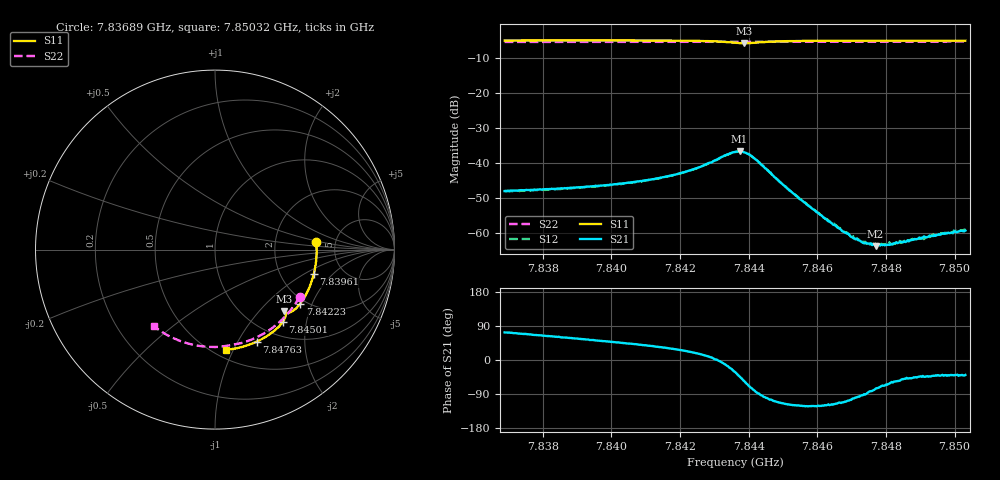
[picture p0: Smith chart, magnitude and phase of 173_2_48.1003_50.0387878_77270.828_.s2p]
#  HZ  S  RI  R  50.00
! Rohde & Schwarz Vector Network Analyzer
! Rohde-Schwarz,ZNB20-2Port,1311601062101988,3.16
! Created: UTC 12/23/2023, 3:52:00 AM
! freq[Hz]  re:S11  im:S11  re:S21  im:S21  re:S12  im:S12  re:S22  im:S22
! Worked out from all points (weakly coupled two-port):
!   401 points, 7.83689 GHz to 7.85032 GHz, reference 50 ohm
!   highest |S21| = -36.70 dB at 7.84374 GHz (marker M1); lowest = -63.9 dB at 7.8477 GHz (marker M2)
!   lowest |S11| = -5.7 dB at 7.84387 GHz (marker M3), VSWR 3.14, Z = 74 - j69.4 ohm
!   |S11| at or under -10 dB: nowhere
!   |S22| runs from -5.4 to -5.3 dB; largest |S21 - S12| = 0.00028
!   S11 on the Smith chart (normalised r, x): 7.83689 GHz: 3.55, +0.45; 7.83961 GHz: 3.07, -1.24; 7.84223 GHz: 1.87, -1.65; 7.84501 GHz: 1.26, -1.47; 7.84763 GHz: 0.80, -1.20; 7.85032 GHz: 0.57, -0.94
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7.836889e9  0.5645 0.0431  0.00116 0.00376  0.00121 0.0037  0.4709 -0.2632
7.839138e9  0.5568 -0.106  0.00256 0.00367  0.00255 0.00363  0.3757 -0.3883
7.839607e9  0.5501 -0.137  0.00292 0.00363  0.00289 0.00359  0.3515 -0.4106
7.841387e9  0.5071 -0.2502  0.00496 0.0034  0.00491 0.00341  0.2484 -0.4807
7.842226e9  0.4753 -0.3012  0.00702 0.00294  0.00697 0.00298  0.1947 -0.505
7.843098e9  0.4256 -0.3467  0.0112 -0.000129  0.0113 -0.000146  0.136 -0.523
7.843602e9  0.3905 -0.3507  0.0122 -0.00745  0.0121 -0.00753  0.1023 -0.5294
7.843736e9  0.386 -0.3472  0.0106 -0.01  0.0106 -0.00985  0.0938 -0.5307
7.84387e9  0.3859 -0.344  0.00792 -0.0117  0.00786 -0.0117  0.0854 -0.5322
7.844005e9  0.3884 -0.3443  0.00489 -0.0123  0.00502 -0.0123  0.0766 -0.5339
7.84424e9  0.3938 -0.3534  0.000726 -0.0109  0.000936 -0.0109  0.0613 -0.5368
7.845012e9  0.3772 -0.4042  -0.00199 -0.00438  -0.00197 -0.00443  0.00746 -0.5425
7.845851e9  0.3359 -0.4479  -0.00115 -0.00188  -0.00117 -0.00189  -0.0517 -0.5411
7.84622e9  0.3157 -0.4639  -0.000775 -0.0014  -0.000795 -0.00137  -0.0777 -0.5382
7.847026e9  0.2693 -0.4939  -0.000172 -0.000834  -0.000219 -0.000895  -0.1333 -0.5278
7.847361e9  0.2492 -0.5045  -5.59e-07 -0.000709  -2.95e-05 -0.000697  -0.1561 -0.5216
7.84763e9  0.2329 -0.5123  0.000118 -0.000669  0.000131 -0.00068  -0.174 -0.516
7.847697e9  0.2287 -0.5142  0.000156 -0.000617  0.000159 -0.000676  -0.1784 -0.5146
7.8481e9  0.204 -0.5247  0.000307 -0.000588  0.00038 -0.000615  -0.205 -0.5049
7.849073e9  0.1421 -0.5447  0.00063 -0.000569  0.000608 -0.000569  -0.2667 -0.4759
7.84961e9  0.1071 -0.5524  0.000719 -0.000612  0.000762 -0.000616  -0.299 -0.4564
7.850315e9  0.0607 -0.559  0.000822 -0.000679  0.000841 -0.000704  -0.3394 -0.4278
